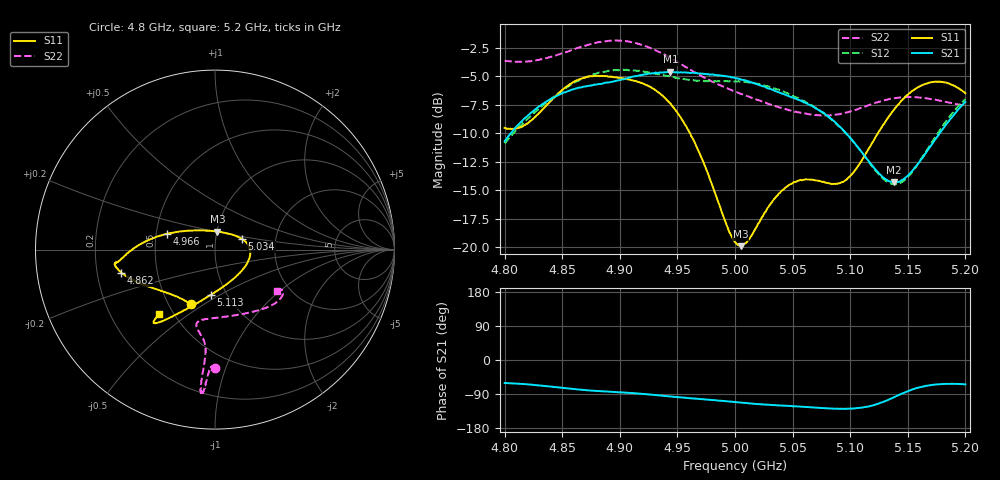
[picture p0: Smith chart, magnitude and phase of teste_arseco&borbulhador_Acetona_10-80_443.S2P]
! Network Analyzer HP8722D
! Hewlett-Packard
! Data name: Linha & Wilkinson
! Saver's name: Rodrigo Anjos
! Comments: Teste da utilização de aquisição
! continua pelo VNA HP8722D
! Time and date: 17/4/2025 18:03
!  Frequency  S11  S21  S12  S22
# HZ  S  MA R 50
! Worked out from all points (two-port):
!   401 points, 4.8 GHz to 5.2 GHz, reference 50 ohm
!   highest |S21| = -4.61 dB at 4.944 GHz (marker M1); lowest = -14.3 dB at 5.138 GHz (marker M2)
!   |S21| within 3 dB of the highest: 4.831 GHz to 5.067 GHz (236.1 MHz wide, 4.77 % of centre); 5.19656 GHz to end of sweep
!   lowest |S11| = -19.9 dB at 5.005 GHz (marker M3), VSWR 1.22, Z = 50.3 + j10.2 ohm
!   |S11| at or under -10 dB: 4.961 GHz to 5.124 GHz (163.2 MHz wide, 3.24 % of centre)
!   |S22| runs from -8.5 to -1.9 dB; largest |S21 - S12| = 0.88
!   S11 on the Smith chart (normalised r, x): 4.8 GHz: 0.65, -0.44; 4.862 GHz: 0.30, -0.11; 4.966 GHz: 0.57, +0.11; 5.034 GHz: 1.35, +0.16; 5.113 GHz: 0.84, -0.45; 5.2 GHz: 0.42, -0.39
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4.8e9  0.3335 -113.5  0.2915 -60.6  0.2857 -175.0  0.6571 -90.0
4.819e9  0.3471 -133.5  0.3734 -64.1  0.3614 -173.6  0.6526 -91.7
4.862e9  0.5377 -166.1  0.4971 -77.0  0.5315 -176.8  0.7445 -94.0
4.867e9  0.5504 -168.1  0.5029 -78.7  0.5457 -177.8  0.7577 -94.1
4.9e9  0.5533 -172.7  0.541 -85.1  0.5995 175.6  0.8058 -95.5
4.934e9  0.4759 -178.8  0.5822 -93.5  0.5743 171.9  0.7179 -95.9
4.944e9  0.4263 176.7  0.588 -96.2  0.5588 172.0  0.6772 -95.6
4.966e9  0.2805 161.7  0.5799 -101.8  0.538 173.9  0.5814 -95.2
5e9  0.1054 99.2  0.5524 -111.1  0.5336 176.2  0.4814 -99.4
5.005e9  0.1009 82.4  0.5439 -112.6  0.531 176.1  0.4701 -100.6
5.013e9  0.1096 57.7  0.5314 -114.7  0.5263 175.9  0.4547 -102.2
5.034e9  0.1627 21.3  0.4869 -119.2  0.4977 174.8  0.4172 -103.6
5.049e9  0.1894 5.7  0.4543 -121.5  0.4654 174.2  0.3965 -100.2
5.067e9  0.1976 -13.3  0.4156 -125.0  0.4185 173.6  0.3808 -90.7
5.093e9  0.1929 -57.9  0.3299 -128.7  0.3278 174.2  0.385 -70.5
5.113e9  0.2543 -95.5  0.2493 -124.3  0.2492 -179.8  0.4146 -54.8
5.134e9  0.3763 -116.7  0.1942 -103.9  0.1909 -156.9  0.4465 -42.9
5.138e9  0.4015 -119.0  0.1922 -98.3  0.1892 -150.5  0.4496 -41.1
5.151e9  0.4714 -124.8  0.2081 -80.9  0.2059 -130.5  0.4557 -36.4
5.17e9  0.5285 -129.2  0.2781 -66.1  0.2841 -112.3  0.4468 -32.0
5.184e9  0.5252 -130.5  0.3495 -62.9  0.3613 -107.1  0.4329 -31.0
5.2e9  0.4732 -130.9  0.4338 -64.4  0.4459 -106.4  0.4164 -33.4
